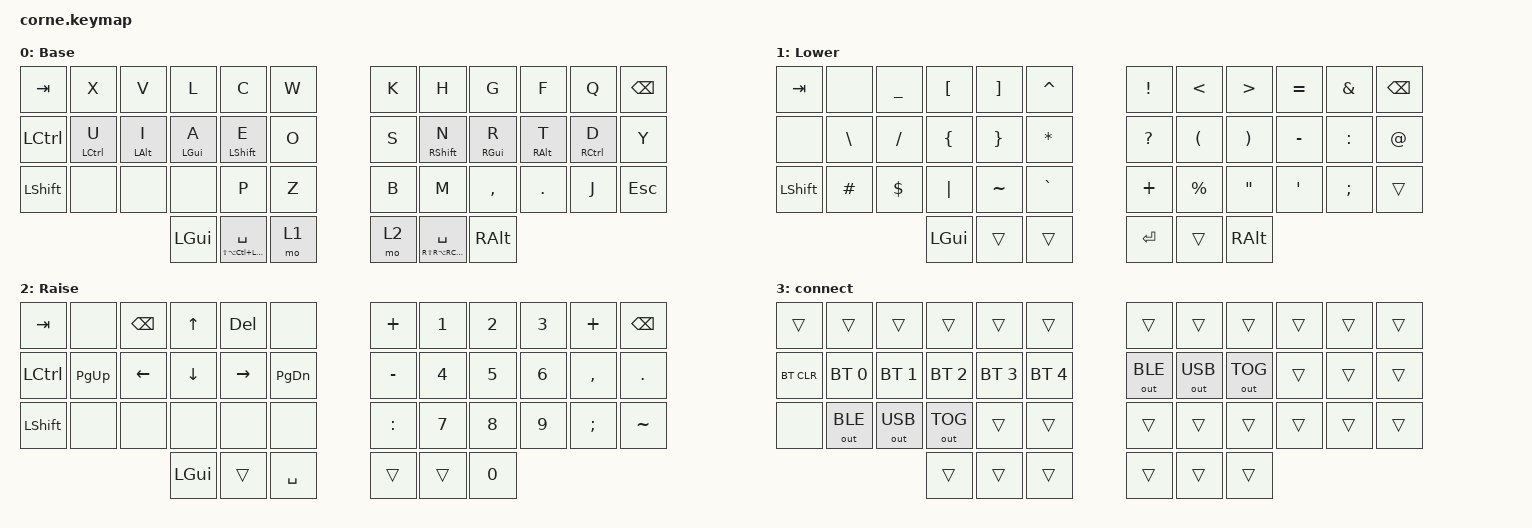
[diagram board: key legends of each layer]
#include <behaviors.dtsi>
#include <dt-bindings/zmk/bt.h>
#include <dt-bindings/zmk/keys.h>
#include <dt-bindings/zmk/outputs.h>

/ {
    combos {
        compatible = "zmk,combos";

        enter {
            bindings = <&kp ENTER>;
            key-positions = <19 20 21>;
        };

        connect-layer {
            bindings = <&tog 3>;
            key-positions = <24 35>;
        };
    };

    behaviors {
        hm: homerow_mods {
            compatible = "zmk,behavior-hold-tap";
            #binding-cells = <2>;
            tapping-term-ms = <180>;
            quick-tap-ms = <0>;
            flavor = "tap-preferred";
            bindings = <&kp>, <&kp>;
        };
    };

    keymap {
        compatible = "zmk,keymap";

        default_layer {
            display-name = "Base";
            bindings = <
&kp TAB    &kp X        &kp V       &kp L       &kp C                           &kp W    &kp K  &kp H                       &kp G       &kp F            &kp Q        &kp BSPC
&kp LCTRL  &hm LCTRL U  &hm LALT I  &hm LGUI A  &hm LSHIFT E                    &kp O    &kp S  &hm RIGHT_SHIFT N           &hm RGUI R  &hm RIGHT_ALT T  &hm RCTRL D  &kp Y
&kp LSHFT  &none        &none       &none       &kp P                           &kp Z    &kp B  &kp M                       &kp COMMA   &kp DOT          &kp J        &kp ESC
                                    &kp LGUI    &mt LS(LA(LC(LEFT_GUI))) SPACE  &mo 1    &mo 2  &mt RS(RA(RC(RGUI))) SPACE  &kp RALT
            >;
        };

        lower_layer {
            display-name = "Lower";
            bindings = <
&kp TAB    &none          &kp UNDERSCORE  &kp LBKT  &kp RBKT   &kp CARET       &kp EXCLAMATION  &kp LESS_THAN         &kp GREATER_THAN       &kp EQUAL         &kp AMPERSAND  &kp BSPC
&none      &kp BACKSLASH  &kp SLASH       &kp LBRC  &kp RBRC   &kp ASTERISK    &kp QUESTION     &kp LEFT_PARENTHESIS  &kp RIGHT_PARENTHESIS  &kp MINUS         &kp COLON      &kp AT_SIGN
&kp LSHFT  &kp POUND      &kp DOLLAR      &kp PIPE  &kp TILDE  &kp GRAVE       &kp PLUS         &kp PERCENT           &kp DOUBLE_QUOTES      &kp SINGLE_QUOTE  &kp SEMICOLON  &trans
                                          &kp LGUI  &trans     &trans          &kp ENTER        &trans                &kp RALT
            >;
        };

        raise_layer {
            display-name = "Raise";
            bindings = <
&kp TAB    &none        &kp BACKSPACE   &kp UP_ARROW    &kp DELETE       &none            &kp PLUS   &kp N1  &kp N2  &kp N3  &kp PLUS   &kp BACKSPACE
&kp LCTRL  &kp PAGE_UP  &kp LEFT_ARROW  &kp DOWN_ARROW  &kp RIGHT_ARROW  &kp PAGE_DOWN    &kp MINUS  &kp N4  &kp N5  &kp N6  &kp COMMA  &kp DOT
&kp LSHFT  &none        &none           &none           &none            &none            &kp COLON  &kp N7  &kp N8  &kp N9  &kp SEMI   &kp TILDE
                                        &kp LGUI        &trans           &kp SPACE        &trans     &trans  &kp N0
            >;
        };

        ble-connect {
            bindings = <
&trans      &trans        &trans        &trans        &trans        &trans          &trans        &trans        &trans        &trans  &trans  &trans
&bt BT_CLR  &bt BT_SEL 0  &bt BT_SEL 1  &bt BT_SEL 2  &bt BT_SEL 3  &bt BT_SEL 4    &out OUT_BLE  &out OUT_USB  &out OUT_TOG  &trans  &trans  &trans
&none       &out OUT_BLE  &out OUT_USB  &out OUT_TOG  &trans        &trans          &trans        &trans        &trans        &trans  &trans  &trans
                                        &trans        &trans        &trans          &trans        &trans        &trans
            >;

            label = "connect";
        };
    };

    conditional_layers { compatible = "zmk,conditional-layers"; };
};
